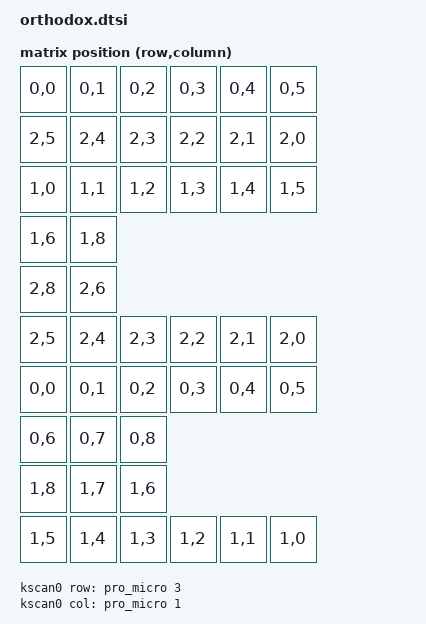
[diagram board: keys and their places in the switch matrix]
# Copyright (c) 2023 You 
# SPDX-License-Identifier: MIT

#include <dt-bindings/zmk/matrix_transform.h>

/ {

  default_transform: keymap_transform_0 {
    compatible = "zmk,matrix-transform";  
    columns = <6>;
    rows = <3>;
    
    map = <
      RC(0,0) RC(0,1) RC(0,2) RC(0,3) RC(0,4) RC(0,5)
      RC(2,5) RC(2,4) RC(2,3) RC(2,2) RC(2,1) RC(2,0)
      RC(1,0) RC(1,1) RC(1,2) RC(1,3) RC(1,4) RC(1,5)

      RC(1,6) RC(1,8) 
      RC(2,8) RC(2,6)

      RC(2,5) RC(2,4) RC(2,3) RC(2,2) RC(2,1) RC(2,0)
      RC(0,0) RC(0,1) RC(0,2) RC(0,3) RC(0,4) RC(0,5)

      RC(0,6) RC(0,7) RC(0,8)
      RC(1,8) RC(1,7) RC(1,6)

      RC(1,5) RC(1,4) RC(1,3) RC(1,2) RC(1,1) RC(1,0)
    >;
  };

  kscan0: kscan {
    compatible = "zmk,kscan-gpio-matrix";
    label = "KSCAN";

    col-gpios = <&pro_micro 1 0>; 
    row-gpios = <&pro_micro 3 2>;
  };

}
